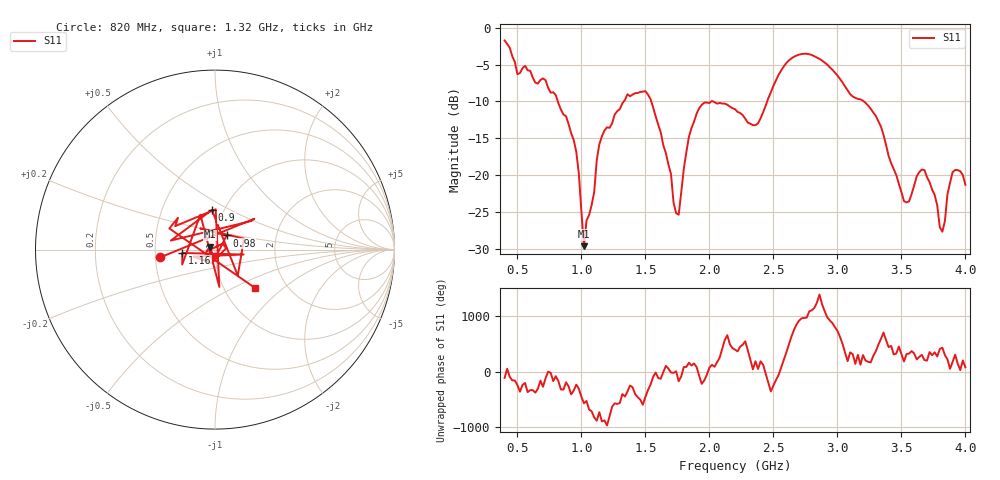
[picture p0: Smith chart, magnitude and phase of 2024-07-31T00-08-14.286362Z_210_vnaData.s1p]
!Created with skrf (http://scikit-rf.org).
# Hz S RI R 50.0
!freq ReS11 ImS11
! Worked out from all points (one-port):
!   181 points, 400 MHz to 4 GHz, reference 50 ohm
!   lowest |S11| = -29.6 dB at 1.02 GHz (marker M1), VSWR 1.07, Z = 47.2 + j1.53 ohm
!   |S11| at or under -10 dB: 815.7 MHz to 1.331 GHz (515.7 MHz wide, 48 % of centre); 1.546 GHz to 2.016 GHz (469.9 MHz wide, 26.4 % of centre); 3.206 GHz to end of sweep (the widest 3 of 4)
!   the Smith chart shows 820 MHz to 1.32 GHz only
!   S11 on the Smith chart (normalised r, x): 820 MHz: 0.53, -0.05; 900 MHz: 0.88, +0.41; 980 MHz: 1.12, +0.18; 1.16 GHz: 0.69, -0.03; 1.32 GHz: 1.39, -0.65
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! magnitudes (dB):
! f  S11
! 400 MHz  -1.7
! 500 MHz  -6.3
! 700 MHz  -6.9
! 820 MHz  -10.2
! 860 MHz  -11.8
! 900 MHz  -13.1
! 980 MHz  -19.8
! 1.02 GHz  -29.6
! 1.16 GHz  -14.7
! 1.3 GHz  -11.0
! 1.32 GHz  -10.3
! 1.54 GHz  -9.7
! 1.76 GHz  -25.4
! 1.84 GHz  -14.8
! 1.92 GHz  -10.9
! 2.2 GHz  -11.1
! 2.38 GHz  -13.0
! 2.54 GHz  -6.4
! 2.66 GHz  -3.9
! 2.88 GHz  -4.4
! 3.1 GHz  -9.0
! 3.3 GHz  -12.0
! 3.52 GHz  -23.5
! 3.56 GHz  -23.6
! 3.68 GHz  -19.3
! 3.82 GHz  -27.7
! 3.9 GHz  -19.6
! 4 GHz  -21.3
